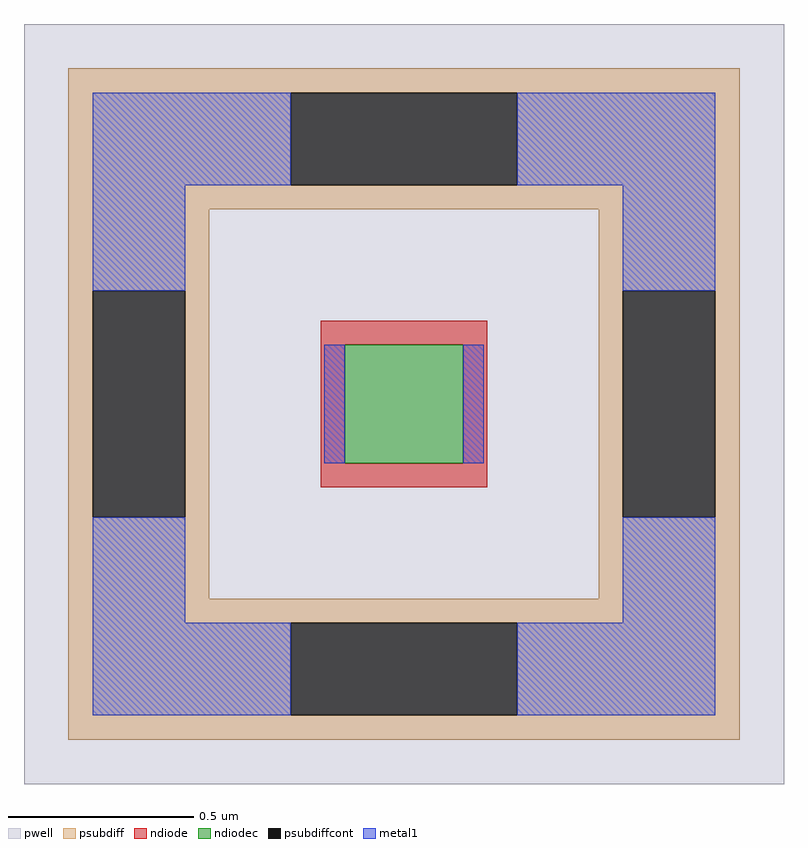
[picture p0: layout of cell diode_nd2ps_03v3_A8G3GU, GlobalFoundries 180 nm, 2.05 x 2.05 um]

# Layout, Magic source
magic
tech gf180mcuD
magscale 1 10
<< pwell >>
rect -205 -205 205 205
<< psubdiff >>
rect -181 168 181 181
rect -181 118 -61 168
rect 61 118 181 168
rect -181 105 181 118
rect -181 61 -105 105
rect -181 -61 -168 61
rect -118 -61 -105 61
rect 105 61 181 105
rect -181 -105 -105 -61
rect 105 -61 118 61
rect 168 -61 181 61
rect 105 -105 181 -61
rect -181 -118 181 -105
rect -181 -168 -61 -118
rect 61 -168 181 -118
rect -181 -181 181 -168
<< psubdiffcont >>
rect -61 118 61 168
rect -168 -61 -118 61
rect 118 -61 168 61
rect -61 -168 61 -118
<< ndiode >>
rect -45 32 45 45
rect -45 -32 -32 32
rect 32 -32 45 32
rect -45 -45 45 -32
<< ndiodec >>
rect -32 -32 32 32
<< metal1 >>
rect -168 118 -61 168
rect 61 118 168 168
rect -168 61 -118 118
rect 118 61 168 118
rect -43 -32 -32 32
rect 32 -32 43 32
rect -168 -118 -118 -61
rect 118 -118 168 -61
rect -168 -168 -61 -118
rect 61 -168 168 -118
<< properties >>
string FIXED_BBOX -143 -143 143 143
string gencell diode_nd2ps_03v3
string library gf180mcu
string parameters w 0.45 l 0.45 area 202.5m peri 1.8 nx 1 ny 1 dummy 0 lmin 0.45 wmin 0.45 class diode elc 1 erc 1 etc 1 ebc 1 doverlap 0 full_metal 1 compatible {diode_nd2ps_03v3 diode_nd2ps_06v0} pj {2*1u + 2*1u }
<< end >>
